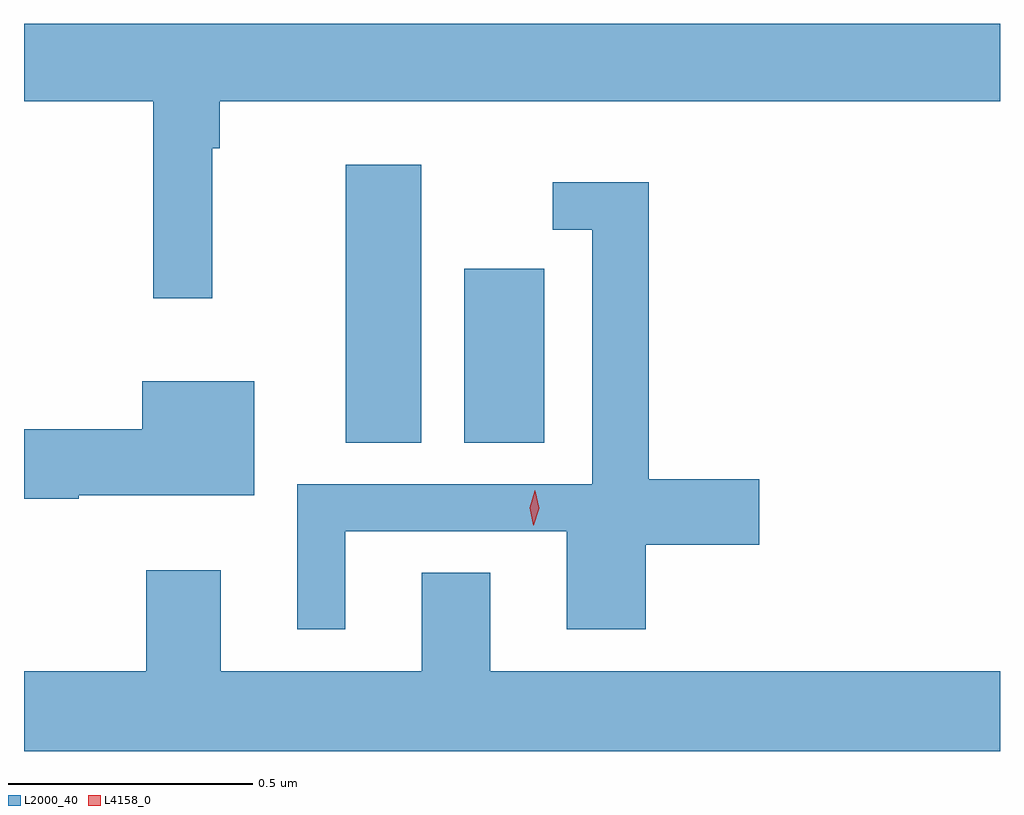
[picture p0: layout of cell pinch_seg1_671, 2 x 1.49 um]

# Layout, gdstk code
import gdstk
lib = gdstk.Library(unit=1e-6, precision=1e-09)
def R(c, l, rs):  # rectangles x0, y0, x1, y1
    for r in rs: c.add(gdstk.rectangle(r[:2], r[2:], *l))
def P(c, l, *ps):  # polygons
    for p in ps: c.add(gdstk.Polygon(p, *l))
L2000_40 = (2000, 40)
L4158_0 = (4158, 0)

pinch_seg1_671 = lib.new_cell('pinch_seg1_671')
R(pinch_seg1_671, L2000_40, [(762.953,561.688,763.108,562.258), (763.196,561.688,763.36,562.045)])
P(pinch_seg1_671, L2000_40, [(762.68,562.292),(762.695,562.292),(762.695,562.388),(764.294,562.388),(764.294,562.547),(762.294,562.547),(762.294,562.388),(762.559,562.388),(762.559,561.984),(762.68,561.984)],
  [(762.952,561.507),(763.406,561.507),(763.406,561.306),(763.568,561.306),(763.568,561.479),(763.801,561.479),(763.801,561.614),(763.574,561.614),(763.574,562.222),(763.377,562.222),(763.377,562.125),(763.458,562.125),(763.458,561.603),(762.854,561.603),(762.854,561.306),(762.952,561.306)],
  [(762.406,561.581),(762.766,561.581),(762.766,561.814),(762.536,561.814),(762.536,561.716),(762.294,561.716),(762.294,561.574),(762.406,561.574)],
  [(764.294,561.22),(763.249,561.22),(763.249,561.422),(763.109,561.422),(763.109,561.22),(762.697,561.22),(762.697,561.427),(762.545,561.427),(762.545,561.22),(762.294,561.22),(762.294,561.056),(764.294,561.056)])
P(pinch_seg1_671, L4158_0, [(763.338,561.519),(763.338,561.519),(763.33,561.555),(763.341,561.59),(763.341,561.591),(763.342,561.59),(763.35,561.554),(763.339,561.519)])

lib.write_gds('pinch_seg1_671.gds')
